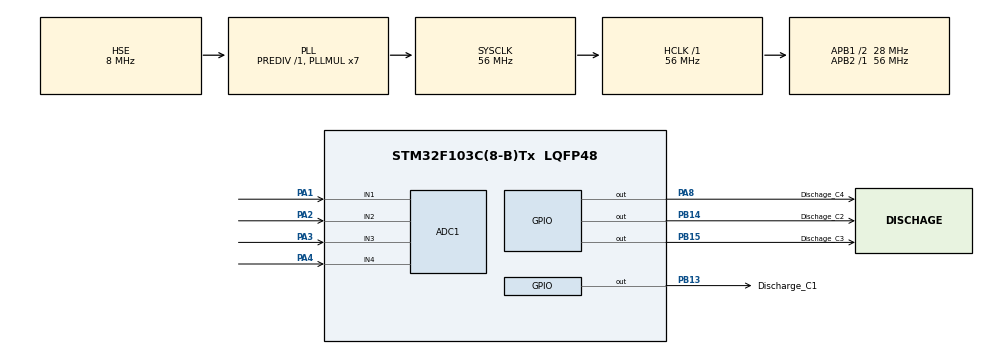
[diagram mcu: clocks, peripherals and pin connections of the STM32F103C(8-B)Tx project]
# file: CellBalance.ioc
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ADC1.Channel-5\#ChannelRegularConversion=ADC_CHANNEL_1
ADC1.Channel-6\#ChannelRegularConversion=ADC_CHANNEL_2
ADC1.Channel-7\#ChannelRegularConversion=ADC_CHANNEL_3
ADC1.Channel-8\#ChannelRegularConversion=ADC_CHANNEL_4
ADC1.ContinuousConvMode=DISABLE
ADC1.EnableInjectedConversion=DISABLE
ADC1.NbrOfConversion=4
ADC1.NbrOfConversionFlag=1
ADC1.Rank-5\#ChannelRegularConversion=1
ADC1.Rank-6\#ChannelRegularConversion=2
ADC1.Rank-7\#ChannelRegularConversion=3
ADC1.Rank-8\#ChannelRegularConversion=4
ADC1.SamplingTime-5\#ChannelRegularConversion=ADC_SAMPLETIME_41CYCLES_5
ADC1.SamplingTime-6\#ChannelRegularConversion=ADC_SAMPLETIME_41CYCLES_5
ADC1.SamplingTime-7\#ChannelRegularConversion=ADC_SAMPLETIME_41CYCLES_5
ADC1.SamplingTime-8\#ChannelRegularConversion=ADC_SAMPLETIME_41CYCLES_5
ADC1.master=1
Mcu.Family=STM32F1
Mcu.Name=STM32F103C(8-B)Tx
Mcu.Package=LQFP48
NVIC.PriorityGroup=NVIC_PRIORITYGROUP_4
PA1.Signal=ADCx_IN1
PA13.Mode=Serial_Wire
PA13.Signal=SYS_JTMS-SWDIO
PA14.Mode=Serial_Wire
PA14.Signal=SYS_JTCK-SWCLK
PA2.Signal=ADCx_IN2
PA3.Signal=ADCx_IN3
PA4.Signal=ADCx_IN4
PA8.GPIO_Label=Dischage_C4
PA8.PinState=GPIO_PIN_SET
PA8.Signal=GPIO_Output
PB13.GPIO_Label=Discharge_C1
PB13.PinState=GPIO_PIN_SET
PB13.Signal=GPIO_Output
PB14.GPIO_Label=Dischage_C2
PB14.PinState=GPIO_PIN_SET
PB14.Signal=GPIO_Output
PB15.GPIO_Label=Dischage_C3
PB15.PinState=GPIO_PIN_SET
PB15.Signal=GPIO_Output
PD0-OSC_IN.Mode=HSE-External-Oscillator
PD0-OSC_IN.Signal=RCC_OSC_IN
PD1-OSC_OUT.Mode=HSE-External-Oscillator
PD1-OSC_OUT.Signal=RCC_OSC_OUT
ProjectManager.HeapSize=0x200
ProjectManager.StackSize=0x400
ProjectManager.TargetToolchain=MDK-ARM V5.32
RCC.ADCPresc=RCC_ADCPCLK2_DIV4
RCC.AHBFreq_Value=56000000
RCC.APB1CLKDivider=RCC_HCLK_DIV2
RCC.APB1Freq_Value=28000000
RCC.APB1TimFreq_Value=56000000
RCC.APB2Freq_Value=56000000
RCC.APB2TimFreq_Value=56000000
RCC.HCLKFreq_Value=56000000
RCC.PLLMUL=RCC_PLL_MUL7
RCC.PLLSourceVirtual=RCC_PLLSOURCE_HSE
RCC.SYSCLKFreq_VALUE=56000000
RCC.SYSCLKSource=RCC_SYSCLKSOURCE_PLLCLK
RCC.USBFreq_Value=56000000
SH.ADCx_IN1.0=ADC1_IN1,IN1
SH.ADCx_IN2.0=ADC1_IN2,IN2
SH.ADCx_IN3.0=ADC1_IN3,IN3
SH.ADCx_IN4.0=ADC1_IN4,IN4
board=custom

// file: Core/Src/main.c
/* USER CODE BEGIN Header */
/**
  ******************************************************************************
  * @file           : main.c
  * @brief          : Main program body
  ******************************************************************************
  * @attention
  *
  * Copyright (c) 2022 STMicroelectronics.
  * All rights reserved.
  *
  * This software is licensed under terms that can be found in the LICENSE file
  * in the root directory of this software component.
  * If no LICENSE file comes with this software, it is provided AS-IS.
  *
  ******************************************************************************
  */
/* USER CODE END Header */
#include "main.h"

/* USER CODE BEGIN Includes */
#include "app_debug.h"
/* USER CODE END Includes */

/* USER CODE BEGIN PTD */
typedef void(*p_function)(void);
/* USER CODE END PTD */

/* USER CODE BEGIN PD */
#define EPSILON_VALUE       5
/* USER CODE END PD */

ADC_HandleTypeDef hadc1;

/* USER CODE BEGIN PV */
//uint32_t Cell_Value[4] = {0};
uint16_t adc_value = 0;
uint16_t cell_raw_value[4] = {0};
uint8_t m_is_cell_need_discharge = 0;

/* USER CODE END PV */

void SystemClock_Config(void);
static void MX_GPIO_Init(void);
static void MX_ADC1_Init(void);
/* USER CODE BEGIN PFP */
uint8_t Cell_Voltage_Read(void);

void findMinimumMaximum(uint16_t arr[], uint16_t N,uint16_t *MinVal, uint16_t *MaxVal)
{
    uint16_t i;
    uint16_t min = arr[0], max = arr[0];
    // Traverse the given array
    for (i = 0; i < N; i++)
    {
        // If current element is smaller
        // than min then update it
        if (arr[i] < min)
        {
            min = arr[i];
        }
        // If current element is greater
        // than max then update it
        if (arr[i] > max)
        {
            max = arr[i];
        }
    }
    *MinVal = min;
    *MaxVal = max;
}

void ADC_Select_Channel1()
{
  ADC_ChannelConfTypeDef sConfig = {0};
  sConfig.Channel = ADC_CHANNEL_1;
  sConfig.Rank = 1;
  sConfig.SamplingTime = ADC_SAMPLETIME_1CYCLE_5;
  if (HAL_ADC_ConfigChannel(&hadc1, &sConfig) != HAL_OK)
  {
    DEBUG_ERROR("Cannot Config ADC \r\n");
    Error_Handler();
  }
}
  /** Configure Regular Channel
  */
void ADC_Select_Channel2()
{
  ADC_ChannelConfTypeDef sConfig = {0};
  sConfig.Channel = ADC_CHANNEL_2;
  sConfig.Rank = 1;
  sConfig.SamplingTime = ADC_SAMPLETIME_1CYCLE_5;
  if (HAL_ADC_ConfigChannel(&hadc1, &sConfig) != HAL_OK)
  {
    DEBUG_ERROR("Cannot Config ADC \r\n");
    Error_Handler();
  }
}
  /** Configure Regular Channel
  */
void ADC_Select_Channel3()
{
  ADC_ChannelConfTypeDef sConfig = {0};
  sConfig.Channel = ADC_CHANNEL_3;
  sConfig.Rank = 1;
  sConfig.SamplingTime = ADC_SAMPLETIME_1CYCLE_5;
  if (HAL_ADC_ConfigChannel(&hadc1, &sConfig) != HAL_OK)
  {
    DEBUG_ERROR("Cannot Config ADC \r\n");

    Error_Handler();
  }
}
void ADC_Select_Channel4()
{
  /** Configure Regular Channel
  */
  ADC_ChannelConfTypeDef sConfig = {0};
  sConfig.Channel = ADC_CHANNEL_4;
  sConfig.Rank = 1;
  sConfig.SamplingTime = ADC_SAMPLETIME_1CYCLE_5;
  if (HAL_ADC_ConfigChannel(&hadc1, &sConfig) != HAL_OK)
  {
    DEBUG_ERROR("Cannot Config ADC \r\n");
    Error_Handler();
  }
}

p_function ADC_Array_Circle[4] = {ADC_Select_Channel1,ADC_Select_Channel2,ADC_Select_Channel3,ADC_Select_Channel4};

void ADC_Polling_Scan()
{
      for (uint8_t adc_channel_index = 0; adc_channel_index < 4; adc_channel_index++)
      {
          if(ADC_Array_Circle[adc_channel_index] != NULL)
          {
              ADC_Array_Circle[adc_channel_index]();
              HAL_ADC_Start(&hadc1);
              HAL_ADC_PollForConversion(&hadc1, 1000);
              cell_raw_value[adc_channel_index] = HAL_ADC_GetValue(&hadc1);
              DEBUG_INFO("ADC%d: %d\r\n",adc_channel_index + 1,cell_raw_value[adc_channel_index]);
              //HAL_Delay(200);
          }
          else
          {
              DEBUG_ERROR("Cannot Read ADC Channel\r\n");
              break;
          }
      }
}

void DischargeCell1()
{
    HAL_GPIO_WritePin(Discharge_C1_GPIO_Port,Discharge_C1_Pin,0); /* Pull Low to Discharge*/
    HAL_Delay(1000);
    HAL_GPIO_WritePin(Discharge_C1_GPIO_Port,Discharge_C1_Pin,1);
}
void DischargeCell2()
{
    HAL_GPIO_WritePin(Dischage_C2_GPIO_Port,Dischage_C2_Pin,0); /* Pull Low to Discharge*/
    HAL_Delay(1000);
    HAL_GPIO_WritePin(Dischage_C2_GPIO_Port,Dischage_C2_Pin,1);
}
void DischargeCell3()
{
    HAL_GPIO_WritePin(Dischage_C3_GPIO_Port,Dischage_C3_Pin,0); /* Pull Low to Discharge*/
    HAL_Delay(1000);
    HAL_GPIO_WritePin(Dischage_C3_GPIO_Port,Dischage_C3_Pin,1);
}
void DischargeCell4()
{
    HAL_GPIO_WritePin(Dischage_C4_GPIO_Port,Dischage_C4_Pin,0); /* Pull Low to Discharge*/
    HAL_Delay(1000);
    HAL_GPIO_WritePin(Dischage_C4_GPIO_Port,Dischage_C4_Pin,1);
}

p_function Discharge_Cell_Arr[4] = {DischargeCell1,DischargeCell2,DischargeCell3,DischargeCell4};
/* USER CODE END PFP */

int main(void)
{

  /* MCU Configuration--------------------------------------------------------*/

  /* Reset of all peripherals, Initializes the Flash interface and the Systick. */
  HAL_Init();

  /* USER CODE BEGIN Init */
   app_debug_add_callback_print_function(SEGGER_RTT_Write);
   DEBUG_INFO("Balance Cells Build %s %s\r\n", __DATE__, __TIME__);
  /* USER CODE END Init */

  /* Configure the system clock */
  SystemClock_Config();

  /* Initialize all configured peripherals */
  MX_GPIO_Init();
  MX_ADC1_Init();
  /* USER CODE BEGIN 2 */
  uint32_t data[4] = {0};
  //HAL_ADC_Start_DMA(&hadc1,data,4);
  /* USER CODE END 2 */

  /* Infinite loop */
  /* USER CODE BEGIN WHILE */
  while (1)
  {
     uint16_t CellMin = 0;
     uint16_t CellMax = 0;
     //uint8_t MaxCellIndex = 0;
    /* USER CODE END WHILE */

    /* USER CODE BEGIN 3 */
    ADC_Polling_Scan();
    findMinimumMaximum(cell_raw_value,4,&CellMin,&CellMax);
    if( CellMax - CellMin > EPSILON_VALUE)
    {
        m_is_cell_need_discharge = 1;
    }
    if( m_is_cell_need_discharge )
    {
       uint8_t find_max_index;
       for(find_max_index = 0 ; find_max_index < 4; find_max_index++)
       {
           if(CellMax == cell_raw_value[find_max_index])
           {
               DEBUG_INFO("Cell %d's Voltage is the highest\r\n",find_max_index + 1);
               Discharge_Cell_Arr[find_max_index]();
               DEBUG_INFO("Cell %d was discharged\r\n",find_max_index + 1);
               break;
           }
       }
    }
    else
    {
        DEBUG_INFO("Cells are balance, No need to Discharge\r\n");
    }
    HAL_Delay(1000);

      //HAL_Delay(1000);
	 // HAL_ADC_Stop(&hadc1);
       //DEBUG_INFO("ADC1:%d\r\nADC2:%d\r\nADC3:%d\r\nADC4:%d\r\n",data[0],data[1],data[2],data[3]);
     // HAL_Delay(1000);
  }
  /* USER CODE END 3 */
}

void SystemClock_Config(void)
{
  RCC_OscInitTypeDef RCC_OscInitStruct = {0};
  RCC_ClkInitTypeDef RCC_ClkInitStruct = {0};
  RCC_PeriphCLKInitTypeDef PeriphClkInit = {0};

  /** Initializes the RCC Oscillators according to the specified parameters
  * in the RCC_OscInitTypeDef structure.
  */
  RCC_OscInitStruct.OscillatorType = RCC_OSCILLATORTYPE_HSE;
  RCC_OscInitStruct.HSEState = RCC_HSE_ON;
  RCC_OscInitStruct.HSEPredivValue = RCC_HSE_PREDIV_DIV1;
  RCC_OscInitStruct.HSIState = RCC_HSI_ON;
  RCC_OscInitStruct.PLL.PLLState = RCC_PLL_ON;
  RCC_OscInitStruct.PLL.PLLSource = RCC_PLLSOURCE_HSE;
  RCC_OscInitStruct.PLL.PLLMUL = RCC_PLL_MUL7;
  if (HAL_RCC_OscConfig(&RCC_OscInitStruct) != HAL_OK)
  {
    Error_Handler();
  }
  /** Initializes the CPU, AHB and APB buses clocks
  */
  RCC_ClkInitStruct.ClockType = RCC_CLOCKTYPE_HCLK|RCC_CLOCKTYPE_SYSCLK
                              |RCC_CLOCKTYPE_PCLK1|RCC_CLOCKTYPE_PCLK2;
  RCC_ClkInitStruct.SYSCLKSource = RCC_SYSCLKSOURCE_PLLCLK;
  RCC_ClkInitStruct.AHBCLKDivider = RCC_SYSCLK_DIV1;
  RCC_ClkInitStruct.APB1CLKDivider = RCC_HCLK_DIV2;
  RCC_ClkInitStruct.APB2CLKDivider = RCC_HCLK_DIV1;

  if (HAL_RCC_ClockConfig(&RCC_ClkInitStruct, FLASH_LATENCY_2) != HAL_OK)
  {
    Error_Handler();
  }
  PeriphClkInit.PeriphClockSelection = RCC_PERIPHCLK_ADC;
  PeriphClkInit.AdcClockSelection = RCC_ADCPCLK2_DIV4;
  if (HAL_RCCEx_PeriphCLKConfig(&PeriphClkInit) != HAL_OK)
  {
    Error_Handler();
  }
}

static void MX_ADC1_Init(void)
{

  ADC_ChannelConfTypeDef sConfig = {0};

  /** Common config
  */
  hadc1.Instance = ADC1;
  hadc1.Init.ScanConvMode = ADC_SCAN_ENABLE;
  hadc1.Init.ContinuousConvMode = DISABLE;
  hadc1.Init.DiscontinuousConvMode = DISABLE;
  hadc1.Init.ExternalTrigConv = ADC_SOFTWARE_START;
  hadc1.Init.DataAlign = ADC_DATAALIGN_RIGHT;
  hadc1.Init.NbrOfConversion = 1;
  if (HAL_ADC_Init(&hadc1) != HAL_OK)
  {
    Error_Handler();
  }
  /** Configure Regular Channel
  */
//  sConfig.Channel = ADC_CHANNEL_1;
//  sConfig.Rank = ADC_REGULAR_RANK_1;
//  sConfig.SamplingTime = ADC_SAMPLETIME_41CYCLES_5;
//  if (HAL_ADC_ConfigChannel(&hadc1, &sConfig) != HAL_OK)
//  {
//    Error_Handler();
//  }
//  /** Configure Regular Channel
//  */
//  sConfig.Channel = ADC_CHANNEL_2;
//  sConfig.Rank = ADC_REGULAR_RANK_2;
//  if (HAL_ADC_ConfigChannel(&hadc1, &sConfig) != HAL_OK)
//  {
//    Error_Handler();
//  }
//  /** Configure Regular Channel
//  */
//  sConfig.Channel = ADC_CHANNEL_3;
//  sConfig.Rank = ADC_REGULAR_RANK_3;
//  if (HAL_ADC_ConfigChannel(&hadc1, &sConfig) != HAL_OK)
//  {
//    Error_Handler();
//  }
//  /** Configure Regular Channel
//  */
//  sConfig.Channel = ADC_CHANNEL_4;
//  sConfig.Rank = ADC_REGULAR_RANK_4;
//  if (HAL_ADC_ConfigChannel(&hadc1, &sConfig) != HAL_OK)
//  {
//    Error_Handler();
//  }

}

static void MX_GPIO_Init(void)
{
  GPIO_InitTypeDef GPIO_InitStruct = {0};

  /* GPIO Ports Clock Enable */
  __HAL_RCC_GPIOD_CLK_ENABLE();
  __HAL_RCC_GPIOA_CLK_ENABLE();
  __HAL_RCC_GPIOB_CLK_ENABLE();

  /*Configure GPIO pin Output Level */
  HAL_GPIO_WritePin(GPIOB, Discharge_C1_Pin|Dischage_C2_Pin|Dischage_C3_Pin, GPIO_PIN_SET);

  /*Configure GPIO pin Output Level */
  HAL_GPIO_WritePin(Dischage_C4_GPIO_Port, Dischage_C4_Pin, GPIO_PIN_SET);

  /*Configure GPIO pins : Discharge_C1_Pin Dischage_C2_Pin Dischage_C3_Pin */
  GPIO_InitStruct.Pin = Discharge_C1_Pin|Dischage_C2_Pin|Dischage_C3_Pin;
  GPIO_InitStruct.Mode = GPIO_MODE_OUTPUT_PP;
  GPIO_InitStruct.Pull = GPIO_NOPULL;
  GPIO_InitStruct.Speed = GPIO_SPEED_FREQ_LOW;
  HAL_GPIO_Init(GPIOB, &GPIO_InitStruct);

  /*Configure GPIO pin : Dischage_C4_Pin */
  GPIO_InitStruct.Pin = Dischage_C4_Pin;
  GPIO_InitStruct.Mode = GPIO_MODE_OUTPUT_PP;
  GPIO_InitStruct.Pull = GPIO_NOPULL;
  GPIO_InitStruct.Speed = GPIO_SPEED_FREQ_LOW;
  HAL_GPIO_Init(Dischage_C4_GPIO_Port, &GPIO_InitStruct);
}

void Error_Handler(void)
{
  __disable_irq();
  while (1)
  {
  }
}
